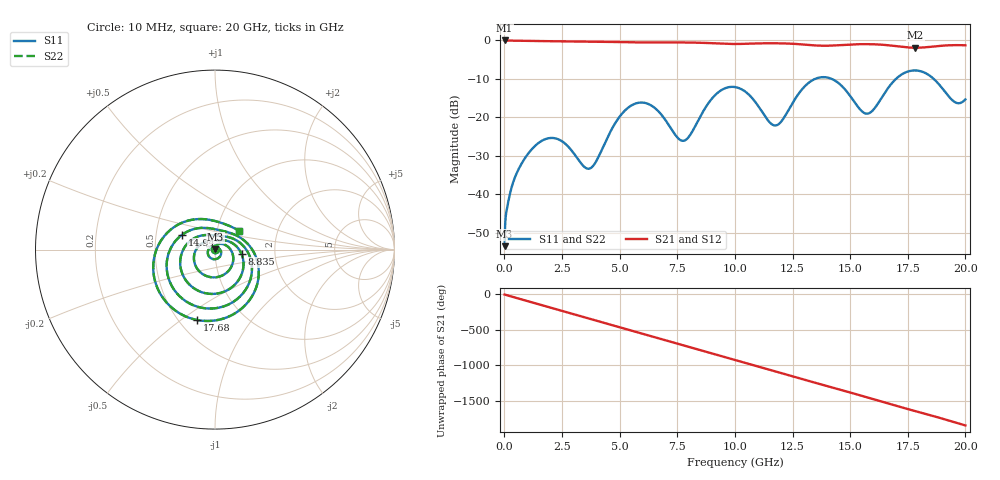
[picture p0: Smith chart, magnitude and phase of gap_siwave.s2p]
! Solver applicability map - 40 x 16 mm symmetric stripline
! Case: gap_siwave
! Sweep: 10 MHz - 20 GHz, 25 MHz step, 4 cores
# GHz S MA R 50.000000
! Terminal data exported
! Port[1] = U1.PAD1.SIG
! Port[2] = U2.PAD1.SIG
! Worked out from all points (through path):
!   801 points, 10 MHz to 20 GHz, reference 50 ohm
!   highest |S21| = -0.02 dB at 10 MHz (marker M1); lowest = -1.9 dB at 17.84 GHz (marker M2)
!   group delay of S21, straight-line fit = 256 ps
!   lowest |S11| = -53.5 dB at 10 MHz (marker M3), VSWR 1.00, Z = 50.2 + j0.111 ohm
!   |S11| at or under -10 dB: start of sweep to 13.49 GHz; 14.19 GHz to 16.99 GHz (2.798 GHz wide, 17.9 % of centre); 18.62 GHz to end of sweep
!   |S22| runs from -53.5 to -7.8 dB; largest |S21 - S12| = 0
!   S11 on the Smith chart (normalised r, x): 10 MHz: 1.00, +0.00; 8.835 GHz: 1.35, -0.07; 14.94 GHz: 0.68, +0.12; 17.68 GHz: 0.61, -0.58; 20 GHz: 1.28, +0.28
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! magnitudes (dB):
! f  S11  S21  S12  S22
! 10 MHz  -53.5  0.0  0.0  -53.5
! 160 MHz  -42.3  -0.1  -0.1  -42.3
! 435 MHz  -36.0  -0.1  -0.1  -36.0
! 1.385 GHz  -27.2  -0.2  -0.2  -27.2
! 2.335 GHz  -25.7  -0.2  -0.2  -25.7
! 3.36 GHz  -32.2  -0.3  -0.3  -32.2
! 3.86 GHz  -32.6  -0.3  -0.3  -32.6
! 5.435 GHz  -17.2  -0.5  -0.5  -17.2
! 6.685 GHz  -18.5  -0.5  -0.5  -18.5
! 7.785 GHz  -26.1  -0.5  -0.5  -26.1
! 8.835 GHz  -16.5  -0.7  -0.7  -16.5
! 10.01 GHz  -12.1  -0.9  -0.9  -12.1
! 11.76 GHz  -22.1  -0.8  -0.8  -22.1
! 13.36 GHz  -10.4  -1.3  -1.3  -10.4
! 14.16 GHz  -9.9  -1.4  -1.4  -9.9
! 14.94 GHz  -13.9  -1.1  -1.1  -13.9
! 15.76 GHz  -19.1  -1.0  -1.0  -19.1
! 16.68 GHz  -12.1  -1.3  -1.3  -12.1
! 17.68 GHz  -7.9  -1.9  -1.9  -7.9
! 17.84 GHz  -7.8  -1.9  -1.9  -7.8
! 19.54 GHz  -16.0  -1.2  -1.2  -16.0
! 20 GHz  -15.4  -1.3  -1.3  -15.4
